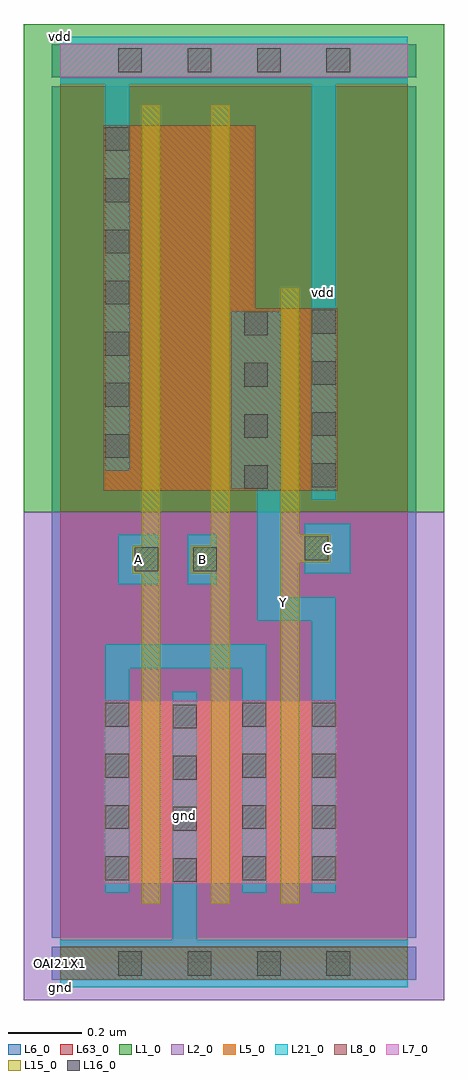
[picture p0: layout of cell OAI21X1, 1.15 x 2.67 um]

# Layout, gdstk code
import gdstk
lib = gdstk.Library(unit=1e-6, precision=1e-09)
def R(c, l, rs):  # rectangles x0, y0, x1, y1
    for r in rs: c.add(gdstk.rectangle(r[:2], r[2:], *l))
def A(c, l, x, y, w, h, nx, ny, dx, dy):  # array of equal rectangles
    R(c, l, [(x+i*dx, y+j*dy, x+i*dx+w, y+j*dy+h) for i in range(nx) for j in range(ny)])
def P(c, l, *ps):  # polygons
    for p in ps: c.add(gdstk.Polygon(p, *l))
L1_0 = (1, 0)
L2_0 = (2, 0)
L5_0 = (5, 0)
L6_0 = (6, 0)
L7_0 = (7, 0)
L8_0 = (8, 0)
L15_0 = (15, 0)
L16_0 = (16, 0)
L21_0 = (21, 0)
L63_0 = (63, 0)

oai21x1 = lib.new_cell('OAI21X1')
R(oai21x1, L1_0, [(-0.1,1.235,1.05,2.57)])
R(oai21x1, L2_0, [(-0.1,-0.1,1.05,1.235)])
A(oai21x1, L5_0, 0.223, 0.218, 0.05, 0.5, 3, 1, 0.19, 0)
R(oai21x1, L5_0, [(0,-0.045,0.95,0.045), (0.118,0.218,0.223,0.718), (0.273,0.218,0.413,0.718), (0.463,0.218,0.603,0.718), (0.653,0.218,0.758,0.718), (0.118,1.293,0.223,2.293), (0.223,1.293,0.273,2.293), (0.273,1.293,0.413,2.293), (0.413,1.293,0.463,2.293), (0.603,1.293,0.653,1.793), (0.653,1.293,0.758,1.793), (0,2.425,0.95,2.515)])
P(oai21x1, L5_0, [(0.533,2.293),(0.533,1.793),(0.603,1.793),(0.603,1.293),(0.463,1.293),(0.463,2.293)])
R(oai21x1, L6_0, [(-0.023,-0.045,0.973,0.045), (-0.023,-0.045,0.973,0.045), (-0.023,0.07,0.973,1.235), (-0.023,1.235,0.973,2.4), (-0.023,2.425,0.973,2.515), (-0.023,2.425,0.973,2.515)])
A(oai21x1, L7_0, 0.223, 0.218, 0.05, 0.5, 3, 1, 0.19, 0)
R(oai21x1, L7_0, [(0.118,0.218,0.223,0.718), (0.273,0.218,0.413,0.718), (0.463,0.218,0.603,0.718), (0.653,0.218,0.758,0.718), (0,2.425,0.95,2.515)])
R(oai21x1, L8_0, [(0,-0.045,0.95,0.045), (0.118,1.293,0.223,2.293), (0.223,1.293,0.273,2.293), (0.273,1.293,0.413,2.293), (0.413,1.293,0.463,2.293), (0.603,1.293,0.653,1.793), (0.653,1.293,0.758,1.793)])
P(oai21x1, L8_0, [(0.533,2.293),(0.533,1.793),(0.603,1.793),(0.603,1.293),(0.463,1.293),(0.463,2.293)])
A(oai21x1, L15_0, 0.223, 0.163, 0.05, 0.055, 3, 1, 0.19, 0)
A(oai21x1, L15_0, 0.223, 0.218, 0.05, 0.5, 3, 1, 0.19, 0)
R(oai21x1, L15_0, [(0.223,1.293,0.273,2.293), (0.413,1.293,0.463,2.293), (0.603,1.293,0.653,1.793), (0.603,1.793,0.653,1.848), (0.223,2.293,0.273,2.348), (0.413,2.293,0.463,2.348)])
P(oai21x1, L15_0, [(0.223,1.068),(0.198,1.068),(0.198,1.143),(0.223,1.143),(0.223,1.293),(0.273,1.293),(0.273,0.718),(0.223,0.718)],
  [(0.413,1.068),(0.358,1.068),(0.358,1.143),(0.413,1.143),(0.413,1.293),(0.463,1.293),(0.463,0.718),(0.413,0.718)],
  [(0.603,1.293),(0.653,1.293),(0.653,1.173),(0.738,1.173),(0.738,1.098),(0.653,1.098),(0.653,0.718),(0.603,0.718)])
A(oai21x1, L16_0, 0.158, -0.033, 0.065, 0.066, 4, 1, 0.19, 0)
A(oai21x1, L16_0, 0.308, 0.223, 0.065, 0.065, 1, 4, 0, 0.14)
A(oai21x1, L16_0, 0.123, 0.228, 0.065, 0.065, 1, 4, 0, 0.14)
A(oai21x1, L16_0, 0.498, 0.228, 0.065, 0.065, 1, 4, 0, 0.14)
A(oai21x1, L16_0, 0.688, 0.228, 0.065, 0.065, 1, 4, 0, 0.14)
A(oai21x1, L16_0, 0.503, 1.298, 0.065, 0.065, 1, 4, 0, 0.14)
A(oai21x1, L16_0, 0.688, 1.303, 0.065, 0.065, 1, 4, 0, 0.14)
A(oai21x1, L16_0, 0.123, 1.383, 0.065, 0.065, 1, 4, 0, 0.14)
A(oai21x1, L16_0, 0.158, 2.438, 0.065, 0.065, 4, 1, 0.19, 0)
R(oai21x1, L16_0, [(0.203,1.073,0.268,1.138), (0.363,1.073,0.428,1.138), (0.668,1.103,0.733,1.168), (0.123,1.943,0.188,2.007), (0.123,2.083,0.188,2.148), (0.123,2.223,0.188,2.288)])
R(oai21x1, L21_0, [(0.158,1.038,0.268,1.173), (0.348,1.038,0.428,1.173), (0.668,1.068,0.793,1.203)])
P(oai21x1, L21_0, [(0,2.405),(0,2.535),(0.95,2.535),(0.95,2.405),(0.753,2.405),(0.753,1.268),(0.688,1.268),(0.688,2.405),(0.188,2.405),(0.188,1.348),(0.123,1.348),(0.123,2.405)],
  [(0,-0.065),(0,0.065),(0.308,0.065),(0.308,0.743),(0.373,0.743),(0.373,0.065),(0.95,0.065),(0.95,-0.065)],
  [(0.538,0.938),(0.538,1.298),(0.468,1.298),(0.468,1.783),(0.603,1.783),(0.603,1.002),(0.753,1.002),(0.753,0.193),(0.688,0.193),(0.688,0.938)],
  [(0.498,0.193),(0.498,0.808),(0.188,0.808),(0.188,0.193),(0.123,0.193),(0.123,0.873),(0.563,0.873),(0.563,0.193)])
R(oai21x1, L63_0, [(0,0,0.95,2.47)])
oai21x1.add(gdstk.Label('vdd', (0.72,1.836), layer=21, texttype=1))
oai21x1.add(gdstk.Label('gnd', (0.34,0.404), layer=21, texttype=1))
oai21x1.add(gdstk.Label('A', (0.213,1.105), layer=21, texttype=1))
oai21x1.add(gdstk.Label('B', (0.388,1.105), layer=21, texttype=1))
oai21x1.add(gdstk.Label('Y', (0.61,0.988), layer=21, texttype=1))
oai21x1.add(gdstk.Label('C', (0.73,1.135), layer=21, texttype=1))
oai21x1.add(gdstk.Label('vdd', (0,2.535), layer=21, texttype=2))
oai21x1.add(gdstk.Label('gnd', (0,-0.065), layer=21, texttype=2))
oai21x1.add(gdstk.Label('OAI21X1', (0,0), layer=63, texttype=1))

lib.write_gds('OAI21X1.gds')
